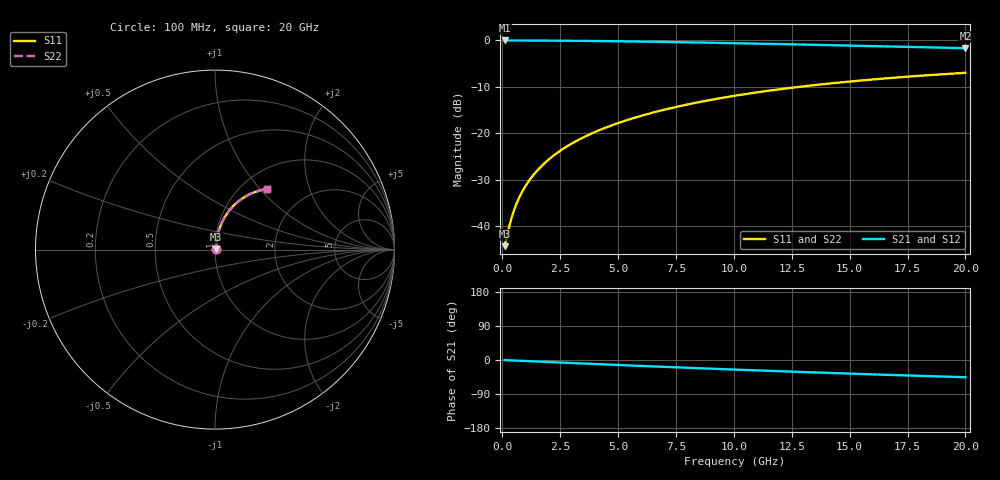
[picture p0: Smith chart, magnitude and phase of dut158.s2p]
! Touchstone file exported from HFSS 2024.1.0
!  File:  C:/UserFiles/LocalFiles/RDL_TSV_Batchsim/temp_RDL_bottom_158_1778697733.aedt
!  Generated:  02:44:53 AM May 14, 2026
!  Design:  RDL_bottom
!  Project:  temp_RDL_bottom_158_1778697733
!  Setup:  Setup1
!  Solution:  Sweep
! Variables:
!  dtsv = 10.80580581um
!  hbump = 3um
!  htsv = 98.76um
!  ldown = 634.33um
!  lrdl = 100um
!  p = 40
!  p1 = 42.99um
!  rhole = 1um
!  t = 450um
!  tdown = 2.71um
!  trdl = 3.915915916um
!  wdown = 15.51um
!  wrdl = 20um
# GHz S MA R 50.000000
! Terminal data exported
! Port[1] = RDL1_T1
! Port[2] = RDL1_T2
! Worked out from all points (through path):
!   200 points, 100 MHz to 20 GHz, reference 50 ohm
!   highest |S21| = -0.05 dB at 100 MHz (marker M1); lowest = -1.7 dB at 20 GHz (marker M2)
!   group delay of S21, straight-line fit = 6.31 ps
!   lowest |S11| = -44.3 dB at 100 MHz (marker M3), VSWR 1.01, Z = 50.5 + j0.279 ohm
!   |S11| at or under -10 dB: start of sweep to 12.86 GHz
!   |S22| runs from -44.3 to -7.0 dB; largest |S21 - S12| = 3.4e-15
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0.1  0.006128 26.7  0.9945 -0.3  0.9945 -0.3  0.006128 26.7
! Gamma 0 0 0 0
! Port Impedance 50 0 50 0
0.3  0.009996 54.9  0.9942 -0.8  0.9942 -0.8  0.009996 54.9
0.4  0.01234 61.2  0.9941 -1.1  0.9941 -1.1  0.01234 61.2
0.5  0.01476 65.3  0.9938 -1.4  0.9938 -1.4  0.01476 65.3
0.6  0.01721 68.2  0.9936 -1.6  0.9936 -1.6  0.01721 68.2
0.7  0.01967 70.4  0.9934 -1.9  0.9934 -1.9  0.01967 70.4
0.9  0.02461 73.3  0.993 -2.4  0.993 -2.4  0.02461 73.3
1.2  0.03206 76.0  0.9923 -3.2  0.9923 -3.2  0.03206 76.0
1.4  0.03707 77.1  0.9918 -3.8  0.9918 -3.8  0.03707 77.1
1.7  0.04461 78.2  0.991 -4.6  0.991 -4.6  0.04461 78.2
2.2  0.05726 79.1  0.9894 -5.9  0.9894 -5.9  0.05726 79.1
2.8  0.07253 79.3  0.9871 -7.5  0.9871 -7.5  0.07253 79.3
3.5  0.0904 79.0  0.9838 -9.3  0.9838 -9.3  0.09041 79.0
4.2  0.1083 78.3  0.9798 -11.1  0.9798 -11.1  0.1083 78.3
5  0.1287 77.2  0.9746 -13.1  0.9746 -13.1  0.1288 77.3
5.9  0.1516 75.8  0.968 -15.4  0.968 -15.4  0.1516 75.9
6.8  0.1743 74.3  0.9606 -17.6  0.9606 -17.6  0.1744 74.3
8.4  0.2139 71.3  0.9462 -21.5  0.9462 -21.5  0.214 71.4
10.1  0.2546 68.0  0.9293 -25.4  0.9293 -25.4  0.2547 68.0
13.4  0.3277 61.4  0.894 -32.6  0.894 -32.6  0.3278 61.5
16.7  0.3918 55.1  0.8576 -39.3  0.8576 -39.3  0.392 55.2
20  0.4466 49.1  0.8218 -45.5  0.8218 -45.5  0.4469 49.2
